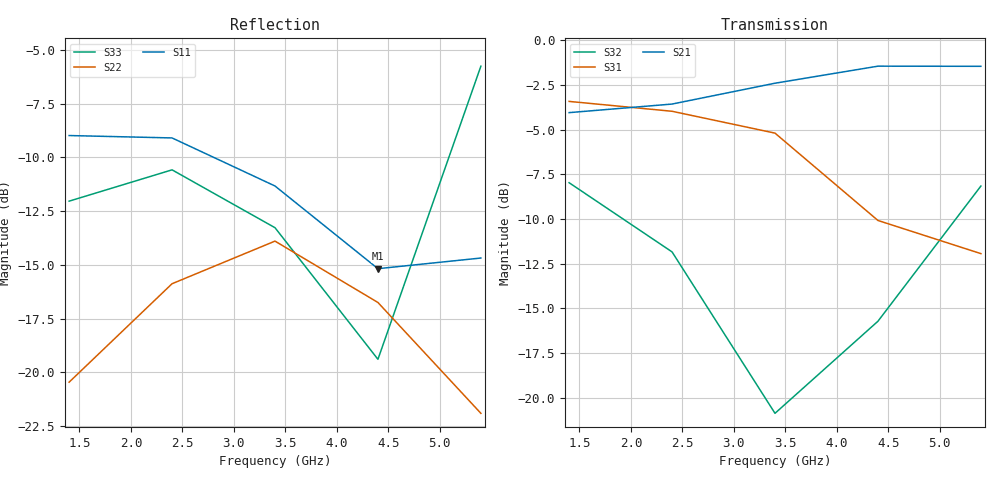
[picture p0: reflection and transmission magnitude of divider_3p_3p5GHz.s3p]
! Generated by EMerge - 3-port S-parameters
! File generated: 2026-06-30 13:02
# GHZ S RI R 50
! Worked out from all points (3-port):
!   5 points, 1.4 GHz to 5.4 GHz, reference 50 ohm
!   strongest paths, dB at 1.4 GHz, 2.4 GHz, 3.4 GHz, 4.4 GHz, 5.4 GHz:
!     S21: -4.0, -3.6, -2.4, -1.4, -1.4
!     S31: -3.4, -4.0, -5.2, -10.1, -11.9
!     S32: -8.0, -11.8, -20.9, -15.7, -8.2
!   lowest |S11| = -15.2 dB at 4.4 GHz (marker M1), VSWR 1.42, Z = 40.8 + j13.1 ohm
!   |S11| at or under -10 dB: 2.807 GHz to end of sweep
1.4  -0.3413 0.1  0.3263 -0.5364  0.3643 -0.5346
     0.3265 -0.5362  -0.0848 0.0424  0.1096 -0.3669
     0.3803 -0.5577  0.1143 -0.3829  -0.2499 0.0124
2.4  -0.2798 0.2121  -0.0958 -0.6566  -0.0813 -0.6282
     -0.0953 -0.6567  -0.1547 0.0437  -0.1127 -0.2296
     -0.0809 -0.6282  -0.1127 -0.2297  -0.2681 0.1254
3.4  -0.14 0.2325  -0.5935 -0.473  -0.435 -0.3368
     -0.593 -0.4736  -0.1352 0.1501  -0.0903 0.00249
     -0.4347 -0.3372  -0.0903 0.00246  -0.0896 0.1976
4.4  -0.079 0.1553  -0.8606 0.2016  -0.3241 0.0427
     -0.8251 0.192  0.00109 0.1453  0.1633 0.0114
     -0.3106 0.0406  0.1632 0.0114  -0.0434 -0.098
5.4  -0.1165 -0.143  -0.2269 0.7787  -0.2508 -0.0342
     -0.2377 0.8123  -0.0443 0.0669  0.1906 -0.3609
     -0.2506 -0.0347  0.1827 -0.3458  -0.5156 -0.0163
